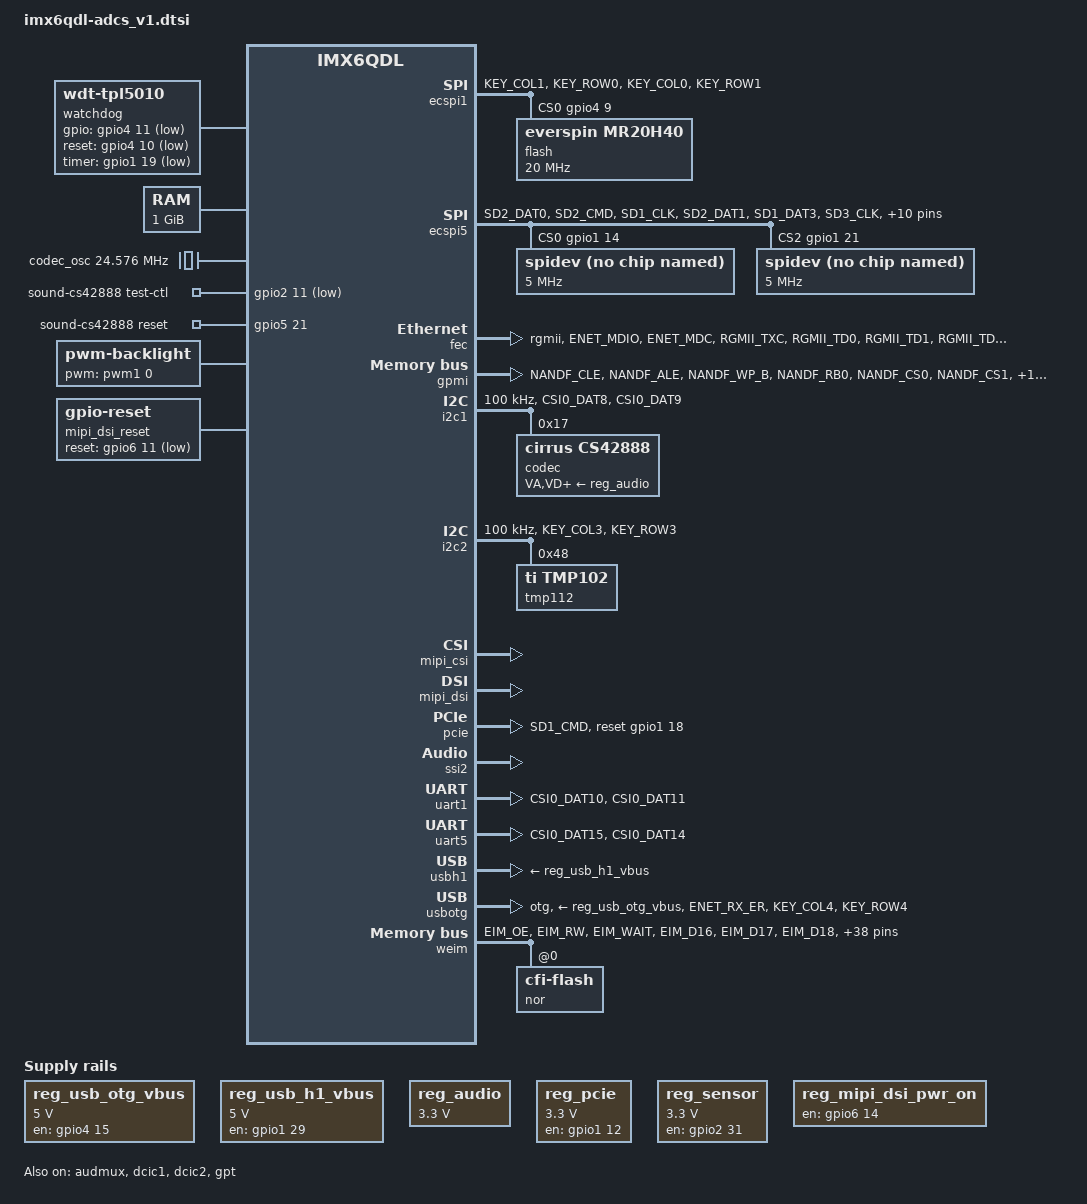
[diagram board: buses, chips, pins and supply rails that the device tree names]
/*
 * Copyright 2012-2015 Freescale Semiconductor, Inc.
 * Copyright 2011 Linaro Ltd.
 *
 * The code contained herein is licensed under the GNU General Public
 * License. You may obtain a copy of the GNU General Public License
 * Version 2 or later at the following locations:
 *
 * http://www.opensource.org/licenses/gpl-license.html
 * http://www.gnu.org/copyleft/gpl.html
 */

#include <dt-bindings/gpio/gpio.h>
#include <dt-bindings/input/input.h>

/ {
	aliases {
		mxcfb0 = &mxcfb1;
		mxcfb1 = &mxcfb2;
		mxcfb2 = &mxcfb3;
		mxcfb3 = &mxcfb4;
	};
/*
	battery: max8903@0 {
		compatible = "fsl,max8903-charger";
		pinctrl-names = "default";
		dok_input = <&gpio2 24 1>;
		uok_input = <&gpio1 27 1>;
		chg_input = <&gpio3 23 1>;
		flt_input = <&gpio5 2 1>;
		fsl,dcm_always_high;
		fsl,dc_valid;
		fsl,usb_valid;
		status = "okay";
	};

	hannstar_cabc {
		compatible = "hannstar,cabc";
		lvds0 {
			gpios = <&gpio6 15 GPIO_ACTIVE_HIGH>;
		};
		lvds1 {
			gpios = <&gpio6 16 GPIO_ACTIVE_HIGH>;
		};
	};*/
	watchdog: watchdog { 
		compatible = "linux,wdt-tpl5010";
		pinctrl-names = "default";
		pinctrl-0 = <&pinctrl_watchdog>;
		gpios = <&gpio4 11 GPIO_ACTIVE_LOW>;
		hw_algo = "toggle";
		gpio_reset = <&gpio4 10 GPIO_ACTIVE_LOW>;
		gpio_timer = <&gpio1 19 GPIO_ACTIVE_LOW>;
		hw_margin_ms = <1600>;
	};
	chosen {
		stdout-path = &uart1;
	};

	leds {
		status="disabled";
		compatible = "gpio-leds";
		pinctrl-names = "default";
		pinctrl-0 = <0>;
 		
		ap1-stop {
			gpios = <&gpio6 3 GPIO_ACTIVE_HIGH>;	
			linux,default-trigger = "gpio";		 
			default-state = "on";
		};
		ap2-stop {
			gpios = <&gpio6 4 GPIO_ACTIVE_HIGH>;
			linux,default-trigger = "gpio";			 
			default-state = "on";
		};
		ap3-stop {
			gpios = <&gpio6 5 GPIO_ACTIVE_HIGH>;
			linux,default-trigger = "gpio";			 
			default-state = "on";
		};
		ap1-run {
			gpios = <&gpio2 8 GPIO_ACTIVE_HIGH>;
			linux,default-trigger = "gpio";			 
			default-state = "off";
		};
		ap2-run {
			gpios = <&gpio2 9 GPIO_ACTIVE_HIGH>;
			linux,default-trigger = "gpio";			 
			default-state = "off";
		};
		ap3-run {
			gpios = <&gpio2 10 GPIO_ACTIVE_HIGH>;
			linux,default-trigger = "gpio";			 
			default-state = "off";
		};	
		
	};

	memory: memory {
		reg = <0x10000000 0x40000000>;
	};

	regulators {
		compatible = "simple-bus";
		#address-cells = <1>;
		#size-cells = <0>;
		
		swbst_reg: swbst {
			regulator-min-microvolt = <5000000>;
			regulator-max-microvolt = <5150000>;
		};
		snvs_reg: vsnvs {
			regulator-min-microvolt = <1000000>;
			regulator-max-microvolt = <3000000>;
			regulator-boot-on;
			regulator-always-on;
		};
					
		reg_usb_otg_vbus: regulator@0 {
			compatible = "regulator-fixed";
			reg = <0>;
			regulator-name = "usb_otg_vbus";
			regulator-min-microvolt = <5000000>;
			regulator-max-microvolt = <5000000>;
			gpio = <&gpio4 15 0>;  /* <&gpio3 22 0>; */
			enable-active-high;
			regulator-always-on;
			/*vin-supply = <&swbst_reg>;*/
		};

		reg_usb_h1_vbus: regulator@1 {
			compatible = "regulator-fixed";
			reg = <1>;
			regulator-name = "usb_h1_vbus";
			regulator-min-microvolt = <5000000>;
			regulator-max-microvolt = <5000000>;
			gpio = <&gpio1 29 0>;
			enable-active-high;
			 /*vin-supply = <&swbst_reg>;*/
		};

		reg_audio: regulator@2 {
			compatible = "regulator-fixed";
			reg = <2>;
			regulator-name = "cs4244-supply";
			regulator-min-microvolt = <3300000>;
			regulator-max-microvolt = <3300000>;
			regulator-always-on;
		};

		reg_pcie: regulator@3 {
			compatible = "regulator-fixed";
			reg = <3>;
			pinctrl-names = "default";
			pinctrl-0 = <&pinctrl_pcie_reg>;
			regulator-name = "MPCIE_3V3";
			regulator-min-microvolt = <3300000>;
			regulator-max-microvolt = <3300000>;
			gpio = <&gpio1 12 0>;
			regulator-always-on;
			enable-active-high;
		};

		reg_sensor: regulator@4 {
			compatible = "regulator-fixed";
			reg = <4>;
			regulator-name = "sensor-supply";
			regulator-min-microvolt = <3300000>;
			regulator-max-microvolt = <3300000>;
			gpio = <&gpio2 31 0>;
			startup-delay-us = <500>;
			enable-active-high;
		};

		reg_mipi_dsi_pwr_on: mipi_dsi_pwr_on {
			compatible = "regulator-fixed";
			regulator-name = "mipi_dsi_pwr_on";
			gpio = <&gpio6 14 0>;
			enable-active-high;
		};
	};

	gpio-keys {
		status="disabled";
		compatible = "gpio-keys";
		pinctrl-names = "default";
		pinctrl-0 = <&pinctrl_gpio_keys>;

		power {
			label = "Power Button";
			gpios = <&gpio3 29 GPIO_ACTIVE_LOW>;
			gpio-key,wakeup;
			linux,code = <KEY_POWER>;
		};

		volume-up {
			label = "Volume Up";
			gpios = <&gpio1 4 GPIO_ACTIVE_LOW>;
			gpio-key,wakeup;
			linux,code = <KEY_VOLUMEUP>;
		};

		volume-down {
			label = "Volume Down";
			gpios = <&gpio1 5 GPIO_ACTIVE_LOW>;
			gpio-key,wakeup;
			linux,code = <KEY_VOLUMEDOWN>;
		};
		
	};
 /*
	sound {
		compatible = "fsl,imx6q-sabresd-wm8962",
			   "fsl,imx-audio-wm8962";
		model = "wm8962-audio";
		cpu-dai = <&ssi2>;
		audio-codec = <&codec>;
		asrc-controller = <&asrc>;
		audio-routing =
			"Headphone Jack", "HPOUTL",
			"Headphone Jack", "HPOUTR",
			"Ext Spk", "SPKOUTL",
			"Ext Spk", "SPKOUTR",
			"AMIC", "MICBIAS",
			"IN3R", "AMIC",
			"DMIC", "MICBIAS",
			"DMICDAT", "DMIC",
			"CPU-Playback", "ASRC-Playback",
			"Playback", "CPU-Playback",
			"ASRC-Capture", "CPU-Capture",
			"CPU-Capture", "Capture";
		mux-int-port = <2>;
		mux-ext-port = <3>;
		 
	};
*/

	clocks {
		codec_osc: anaclk2 {
			compatible = "fixed-clock";
			#clock-cells = <0>;
			clock-frequency = <24576000>;
		};
	};
	sound-cs42888 {
		compatible = "fsl,imx6-sabresd-cs42888",
				"fsl,imx-audio-cs42888";
		model = "imx-cs42888";
		cpu-dai = <&ssi2>;
		asrc-controller = <&asrc>;
		audio-codec = <&codec>;
		mux-int-port = <3>;
		mux-ext-port = <2>;
		test-ctl-gpios = <&gpio2 11 1>;
		test-ch-gpio1 = <&gpio2 12 1>;
		test-ch-gpio2 = <&gpio2 13 1>;
		reset-gpio  = <&gpio5 21 0>;
	};
	
	
	
	sound-hdmi {
		compatible = "fsl,imx6q-audio-hdmi",
			     "fsl,imx-audio-hdmi";
		model = "imx-audio-hdmi";
		hdmi-controller = <&hdmi_audio>;
		status = "disabled";
	};

	mxcfb1: fb@0 {
		compatible = "fsl,mxc_sdc_fb";
	/*	disp_dev = "ldb";
		interface_pix_fmt = "RGB24";
		default_bpp = <24>;
*/
		disp_dev = "lcd";
		interface_pix_fmt = "RGB24";
	 
		default_bpp = <24>;
  	int_clk = <0>;
		late_init = <0>;
		status = "disabled";
	};

	mxcfb2: fb@1 {
		compatible = "fsl,mxc_sdc_fb";
		disp_dev = "hdmi";
		interface_pix_fmt = "RGB24";
		mode_str ="1920x1080M@60";
		default_bpp = <24>;
		int_clk = <0>;
		late_init = <0>;
		status = "disabled";
	};

	mxcfb3: fb@2 {
		compatible = "fsl,mxc_sdc_fb";
		disp_dev = "lcd";
		interface_pix_fmt = "RGB565";
		mode_str ="CLAA-WVGA";
		default_bpp = <16>;
		int_clk = <0>;
		late_init = <0>;
		status = "disabled";
	};

	mxcfb4: fb@3 {
		compatible = "fsl,mxc_sdc_fb";
		disp_dev = "ldb";
		interface_pix_fmt = "RGB666";
		default_bpp = <16>;
		int_clk = <0>;
		late_init = <0>;
		status = "disabled";
	};

	lcd@0 {
		compatible = "fsl,lcd";
		ipu_id = <0>;
		disp_id = <0>;
		default_ifmt = "RGB565";
		pinctrl-names = "default";
		pinctrl-0 = <&pinctrl_ipu1>;
		status = "okay";
	};

	backlight {
		compatible = "pwm-backlight";
		pwms = <&pwm1 0 5000000>;
		brightness-levels = <0 4 8 16 32 64 128 255>;
		default-brightness-level = <7>;
		status = "okay";
	};

	v4l2_cap_0 {
		compatible = "fsl,imx6q-v4l2-capture";
		ipu_id = <0>;
		csi_id = <0>;
		mclk_source = <0>;
		status = "okay";
	};

	v4l2_cap_1 {
		compatible = "fsl,imx6q-v4l2-capture";
		ipu_id = <0>;
		csi_id = <1>;
		mclk_source = <0>;
		status = "okay";
	};

	v4l2_out {
		compatible = "fsl,mxc_v4l2_output";
		status = "okay";
	};

	mipi_dsi_reset: mipi-dsi-reset {
		compatible = "gpio-reset";
		reset-gpios = <&gpio6 11 GPIO_ACTIVE_LOW>;
		reset-delay-us = <50>;
		#reset-cells = <0>;
	};
};

&audmux {
	pinctrl-names = "default";
	pinctrl-0 = <&pinctrl_audmux>;
	status = "okay";
};

 

&clks {
	fsl,ldb-di0-parent = <&clks IMX6QDL_CLK_PLL2_PFD0_352M>;
	fsl,ldb-di1-parent = <&clks IMX6QDL_CLK_PLL2_PFD0_352M>;
/* new add  ????? */
/*	assigned-clocks = <&clks IMX6QDL_PLL4_BYPASS_SRC>,
			  <&clks IMX6QDL_PLL4_BYPASS>,
			  <&clks IMX6QDL_CLK_PLL4_POST_DIV>;
	assigned-clock-parents = <&clks IMX6QDL_CLK_LVDS2_IN>,
				<&clks IMX6QDL_PLL4_BYPASS_SRC>;
	assigned-clock-rates = <0>, <0>, <24576000>;*/
};

&ecspi1 {
	fsl,spi-num-chipselects = <1>;
	cs-gpios = <&gpio4 9 0>;
	pinctrl-names = "default";
	pinctrl-0 = <&pinctrl_ecspi1>;
	status = "okay";

	flash: mr20h40@0 {
		#address-cells = <1>;
		#size-cells = <1>;
		compatible = "everspin,mr20h40";  
		spi-max-frequency = <20000000>;
		reg = <0>;
	};
};
&ecspi5 {
	fsl,spi-num-chipselects = <3>;
	cs-gpios = <&gpio1 14 0>, <0>, <&gpio1 21 0>;  
	pinctrl-names = "default";
	pinctrl-0 = <&pinctrl_ecspi5>;
	status = "okay";	
/*
	to disalbe spidev, you should dislabe CONFIG_SPI_SPIDEV in config, and unmark this block.

	a717: hi3717@0 {
		#address-cells = <1>;
		#size-cells = <1>; 
		compatible = "everspin,hi3717"; 
		spi-max-frequency = <5000000>;
		reg = <0>;
	};
	a429: hi3210@2 {
		#address-cells = <1>;
		#size-cells = <1>;
 		compatible = "everspin,hi3210";  
		spi-max-frequency = <5000000>;
		reg = <2>;
	};*/
  spidev@0x00 {
          compatible = "spidev";
          spi-max-frequency = <5000000>;
          reg = <0>;
  };
  spidev@0x02 {
          compatible = "spidev";
          spi-max-frequency = <5000000>;
          reg = <2>;
  }; 
};
&fec {
	pinctrl-names = "default";
	pinctrl-0 = <&pinctrl_enet>;
	phy-mode = "rgmii";
	phy-reset-gpios = <&gpio1 28 0>;
	fsl,magic-packet;
	status = "okay";
};

&gpc {
	fsl,ldo-bypass = <1>;
};

&dcic1 {
	dcic_id = <0>;
	dcic_mux = "dcic-hdmi";
	status = "okay";
};

&dcic2 {
	dcic_id = <1>;
	dcic_mux = "dcic-lvds1";
	status = "okay";
};

&gpmi {
	pinctrl-names = "default";
	pinctrl-0 = <&pinctrl_gpmi_nand>;
	status = "okay"; /* pin conflict with uart3 */
	nand-on-flash-bbt;
};

&i2c1 {
	clock-frequency = <100000>;
	pinctrl-names = "default";
	pinctrl-0 = <&pinctrl_i2c1>;
	status = "okay";
 /*
codec: wm8962@17 {
		compatible = "wlf,wm8962";
		reg = <0x17>;
		clocks = <&clks IMX6QDL_CLK_CKO>;
		DCVDD-supply = <&reg_audio>;
		DBVDD-supply = <&reg_audio>;
		AVDD-supply = <&reg_audio>;
		CPVDD-supply = <&reg_audio>;
		MICVDD-supply = <&reg_audio>;
		PLLVDD-supply = <&reg_audio>;
		SPKVDD1-supply = <&reg_audio>;
		SPKVDD2-supply = <&reg_audio>;
		gpio-cfg = <
			0x0000  
			0x0000  
			0x0013  
			0x0000  
			0x8014  
			0x0000  
		>;
		amic-mono;
       };
*/
	codec: cs42888@17 {
		compatible = "cirrus,cs42888";
		reg = <0x17>;
		clocks = <&clks IMX6QDL_CLK_CKO>;   
		clock-names = "mclk";
		VA-supply = <&reg_audio>;
		VD-supply = <&reg_audio>;
		VLS-supply = <&reg_audio>;
		VLC-supply = <&reg_audio>;
        };

   /*     
	mma8451@1c {
		compatible = "fsl,mma8451";
		reg = <0x1c>;
		position = <0>;
		vdd-supply = <&reg_sensor>;
		vddio-supply = <&reg_sensor>;
		interrupt-parent = <&gpio1>;
		interrupts = <18 8>;
		interrupt-route = <1>;
	};*/

	
};

&i2c2 {
	clock-frequency = <100000>;
	pinctrl-names = "default";
	pinctrl-0 = <&pinctrl_i2c2>;
	status = "okay";

	tmp112: tmp112@48 {
		compatible = "ti,tmp102";
		reg = <0x48>;
	};
	 
};



&i2c3 {
	status = "disabled";
/*
	clock-frequency = <100000>;	
	pinctrl-names = "default";
	pinctrl-0 = <&pinctrl_i2c3>;
	
	egalax_ts@04 {
		compatible = "eeti,egalax_ts";
		reg = <0x04>;
		pinctrl-names = "default";
		pinctrl-0 = <&pinctrl_i2c3_egalax_int>;
		interrupt-parent = <&gpio6>;
		interrupts = <7 2>;
		wakeup-gpios = <&gpio6 7 GPIO_ACTIVE_HIGH>;
	};

	isl29023@44 {
		compatible = "fsl,isl29023";
		reg = <0x44>;
		rext = <499>;
		vdd-supply = <&reg_sensor>;
		interrupt-parent = <&gpio3>;
		interrupts = <9 2>;
	};

	mag3110@0e {
		compatible = "fsl,mag3110";
		reg = <0x0e>;
		position = <2>;
		vdd-supply = <&reg_sensor>;
		vddio-supply = <&reg_sensor>;
		interrupt-parent = <&gpio3>;
		interrupts = <16 1>;
	};*/
};

&iomuxc {
	pinctrl-names = "default";
	pinctrl-0 = <&pinctrl_hog &pinctrl_leds &pinctrl_gpio_keys>;

	imx6qdl-sabresd {
		pinctrl_hog: hoggrp {
			fsl,pins = <0>;
		};
		pinctrl_watchdog: pinctrl_wdoggrp {
			fsl,pins = <
				/* for wdog tpl5010  and wdog_B1 pin	*/
				 MX6QDL_PAD_KEY_ROW2__GPIO4_IO11		0x1b0b0 
				 MX6QDL_PAD_KEY_COL2__GPIO4_IO10		0x1b0b0 
				 MX6QDL_PAD_SD1_DAT2__GPIO1_IO19		0x1b0b0 
				 MX6QDL_PAD_GPIO_16__GPIO7_IO11			0x1b0b0 
			>;
		};
		pinctrl_audmux: audmuxgrp {
			fsl,pins = <
				MX6QDL_PAD_CSI0_DAT7__AUD3_RXD		0x130B0 
				MX6QDL_PAD_CSI0_DAT4__AUD3_TXC		0x130B0 
				MX6QDL_PAD_CSI0_DAT5__AUD3_TXD		0x110B0 
				MX6QDL_PAD_CSI0_DAT6__AUD3_TXFS		0x130B0 
				
				MX6QDL_PAD_SD4_DAT3__GPIO2_IO11   0x1b0b0
				MX6QDL_PAD_SD4_DAT4__GPIO2_IO12		0x1b0b0
				MX6QDL_PAD_SD4_DAT5__GPIO2_IO13		0x1b0b0
			>;
		};

		pinctrl_ecspi1: ecspi1grp {
			fsl,pins = <
				MX6QDL_PAD_KEY_COL1__ECSPI1_MISO	0x100b1
				MX6QDL_PAD_KEY_ROW0__ECSPI1_MOSI	0x100b1
				MX6QDL_PAD_KEY_COL0__ECSPI1_SCLK	0x100b1
				MX6QDL_PAD_KEY_ROW1__GPIO4_IO09		0x1b0b0
			>;
		};
		pinctrl_ecspi5: ecspi5grp {
			fsl,pins = <
				MX6QDL_PAD_SD2_DAT0__ECSPI5_MISO	0x100b1
				MX6QDL_PAD_SD2_CMD__ECSPI5_MOSI		0x100b1
				MX6QDL_PAD_SD1_CLK__ECSPI5_SCLK		0x100b1
	/*		MX6QDL_PAD_SD2_DAT1__ECSPI5_SS0		0x1b0b0
				MX6QDL_PAD_SD1_DAT3__ECSPI5_SS2 	0x1b0b0
	*/		MX6QDL_PAD_SD2_DAT1__GPIO1_IO14		0x1b0b0
				MX6QDL_PAD_SD1_DAT3__GPIO1_IO21 	0x1b0b0
					
				MX6QDL_PAD_SD3_CLK__GPIO7_IO03    0x1b0b0
				MX6QDL_PAD_SD3_CMD__GPIO7_IO02  	0x1b0b0
				MX6QDL_PAD_SD3_DAT0__GPIO7_IO04 	0x1b0b0
				MX6QDL_PAD_SD3_DAT1__GPIO7_IO05 	0x1b0b0
				MX6QDL_PAD_SD3_DAT2__GPIO7_IO06 	0x1b0b0 																																																				
				MX6QDL_PAD_SD3_DAT3__GPIO7_IO07 	0x1b0b0 																																																				
				MX6QDL_PAD_SD3_DAT4__GPIO7_IO01 	0x1b0b0 																																																				
				MX6QDL_PAD_SD3_DAT5__GPIO7_IO00 	0x1b0b0 																																																				
				MX6QDL_PAD_SD3_DAT6__GPIO6_IO18 	0x1b0b0 																																																				
				MX6QDL_PAD_SD3_DAT7__GPIO6_IO17 	0x1b0b0 																																																				
				MX6QDL_PAD_SD3_RST__GPIO7_IO08  	0x1b0b0																																														
	                                       
			>;
		};
		pinctrl_i2c2_egalax_int: egalax_i2c2_intgrp {
			fsl,pins = <
				MX6QDL_PAD_NANDF_ALE__GPIO6_IO08 0x80000000
			>;
		};

		pinctrl_i2c3_egalax_int: egalax_i2c3_intgrp {
			fsl,pins = <
				MX6QDL_PAD_NANDF_CLE__GPIO6_IO07 0x80000000
			>;
		};

		pinctrl_enet: enetgrp {
			fsl,pins = <
				MX6QDL_PAD_ENET_MDIO__ENET_MDIO		0x1b0b0
				MX6QDL_PAD_ENET_MDC__ENET_MDC		0x1b0b0
				MX6QDL_PAD_RGMII_TXC__RGMII_TXC		0x1b0b0
				MX6QDL_PAD_RGMII_TD0__RGMII_TD0		0x1b0b0
				MX6QDL_PAD_RGMII_TD1__RGMII_TD1		0x1b0b0
				MX6QDL_PAD_RGMII_TD2__RGMII_TD2		0x1b0b0
				MX6QDL_PAD_RGMII_TD3__RGMII_TD3		0x1b0b0
				MX6QDL_PAD_RGMII_TX_CTL__RGMII_TX_CTL	0x1b0b0
				MX6QDL_PAD_ENET_REF_CLK__ENET_TX_CLK	0x1b0b0
				MX6QDL_PAD_RGMII_RXC__RGMII_RXC		0x1b0b0
				MX6QDL_PAD_RGMII_RD0__RGMII_RD0		0x1b0b0
				MX6QDL_PAD_RGMII_RD1__RGMII_RD1		0x1b0b0
				MX6QDL_PAD_RGMII_RD2__RGMII_RD2		0x1b0b0
				MX6QDL_PAD_RGMII_RD3__RGMII_RD3		0x1b0b0
				MX6QDL_PAD_RGMII_RX_CTL__RGMII_RX_CTL	0x1b0b0
 
			>;
		};

		pinctrl_enet_irq: enetirqgrp {
			fsl,pins = <
				MX6QDL_PAD_GPIO_6__ENET_IRQ		0x000b1
			>;
		};

		pinctrl_gpio_keys: gpio_keysgrp {
			fsl,pins = <
			
				MX6QDL_PAD_GPIO_4__GPIO1_IO04  0x1b0b0
				MX6QDL_PAD_GPIO_5__GPIO1_IO05  0x1b0b0
				MX6QDL_PAD_GPIO_18__GPIO7_IO13  0x1b0b0
				MX6QDL_PAD_GPIO_19__GPIO4_IO05  0x1b0b0
				MX6QDL_PAD_GPIO_2__GPIO1_IO02  0x1b0b0
				MX6QDL_PAD_SD1_DAT1__GPIO1_IO17  0x1b0b0
			>;
		};
		
		pinctrl_leds: gpio_ledsgrp {
			fsl,pins = <
			
				MX6QDL_PAD_SD4_DAT0__GPIO2_IO08  0x1b0b0
				MX6QDL_PAD_SD4_DAT1__GPIO2_IO09  0x1b0b0
				MX6QDL_PAD_SD4_DAT2__GPIO2_IO10  0x1b0b0
				
				MX6QDL_PAD_CSI0_DAT17__GPIO6_IO03  0x1b0b0
				MX6QDL_PAD_CSI0_DAT18__GPIO6_IO04  0x1b0b0
				MX6QDL_PAD_CSI0_DAT19__GPIO6_IO05  0x1b0b0
			>;
		};
		pinctrl_gpmi_nand: gpminandgrp {
			fsl,pins = <
				MX6QDL_PAD_NANDF_CLE__NAND_CLE		0xb0b1
				MX6QDL_PAD_NANDF_ALE__NAND_ALE		0xb0b1
				MX6QDL_PAD_NANDF_WP_B__NAND_WP_B	0xb0b1
				MX6QDL_PAD_NANDF_RB0__NAND_READY_B	0xb000
				MX6QDL_PAD_NANDF_CS0__NAND_CE0_B	0xb0b1
				MX6QDL_PAD_NANDF_CS1__NAND_CE1_B	0xb0b1
				MX6QDL_PAD_SD4_CMD__NAND_RE_B		0xb0b1
				MX6QDL_PAD_SD4_CLK__NAND_WE_B		0xb0b1
				MX6QDL_PAD_NANDF_D0__NAND_DATA00	0xb0b1
				MX6QDL_PAD_NANDF_D1__NAND_DATA01	0xb0b1
				MX6QDL_PAD_NANDF_D2__NAND_DATA02	0xb0b1
				MX6QDL_PAD_NANDF_D3__NAND_DATA03	0xb0b1
				MX6QDL_PAD_NANDF_D4__NAND_DATA04	0xb0b1
				MX6QDL_PAD_NANDF_D5__NAND_DATA05	0xb0b1
				MX6QDL_PAD_NANDF_D6__NAND_DATA06	0xb0b1
				MX6QDL_PAD_NANDF_D7__NAND_DATA07	0xb0b1
		/*		MX6QDL_PAD_SD4_DAT0__NAND_DQS		0x00b1 */
			>;
		};

		pinctrl_i2c1: i2c1grp {
			fsl,pins = <
				MX6QDL_PAD_CSI0_DAT8__I2C1_SDA		0x4001b8b1
				MX6QDL_PAD_CSI0_DAT9__I2C1_SCL		0x4001b8b1
			>;
		};

		pinctrl_i2c2: i2c2grp {
			fsl,pins = <
				MX6QDL_PAD_KEY_COL3__I2C2_SCL		0x4001b8b1
				MX6QDL_PAD_KEY_ROW3__I2C2_SDA		0x4001b8b1
			>;
		};
/*
		pinctrl_i2c3: i2c3grp {
			fsl,pins = <
				MX6QDL_PAD_GPIO_5__I2C3_SCL		0x4001b8b1
				MX6QDL_PAD_GPIO_6__I2C3_SDA		0x4001b8b1
			>;
		};
*/
		pinctrl_ipu1: ipu1grp {
			fsl,pins = <
				MX6QDL_PAD_DI0_DISP_CLK__IPU1_DI0_DISP_CLK 0x10
				MX6QDL_PAD_DI0_PIN15__IPU1_DI0_PIN15       0x10
				MX6QDL_PAD_DI0_PIN2__IPU1_DI0_PIN02        0x10
				MX6QDL_PAD_DI0_PIN3__IPU1_DI0_PIN03        0x10
				MX6QDL_PAD_DI0_PIN4__IPU1_DI0_PIN04        0x80000000
				MX6QDL_PAD_DISP0_DAT0__IPU1_DISP0_DATA00   0x10
				MX6QDL_PAD_DISP0_DAT1__IPU1_DISP0_DATA01   0x10
				MX6QDL_PAD_DISP0_DAT2__IPU1_DISP0_DATA02   0x10
				MX6QDL_PAD_DISP0_DAT3__IPU1_DISP0_DATA03   0x10
				MX6QDL_PAD_DISP0_DAT4__IPU1_DISP0_DATA04   0x10
				MX6QDL_PAD_DISP0_DAT5__IPU1_DISP0_DATA05   0x10
				MX6QDL_PAD_DISP0_DAT6__IPU1_DISP0_DATA06   0x10
				MX6QDL_PAD_DISP0_DAT7__IPU1_DISP0_DATA07   0x10
				MX6QDL_PAD_DISP0_DAT8__IPU1_DISP0_DATA08   0x10
				MX6QDL_PAD_DISP0_DAT9__IPU1_DISP0_DATA09   0x10
				MX6QDL_PAD_DISP0_DAT10__IPU1_DISP0_DATA10  0x10
				MX6QDL_PAD_DISP0_DAT11__IPU1_DISP0_DATA11  0x10
				MX6QDL_PAD_DISP0_DAT12__IPU1_DISP0_DATA12  0x10
				MX6QDL_PAD_DISP0_DAT13__IPU1_DISP0_DATA13  0x10
				MX6QDL_PAD_DISP0_DAT14__IPU1_DISP0_DATA14  0x10
				MX6QDL_PAD_DISP0_DAT15__IPU1_DISP0_DATA15  0x10
				MX6QDL_PAD_DISP0_DAT16__IPU1_DISP0_DATA16  0x10
				MX6QDL_PAD_DISP0_DAT17__IPU1_DISP0_DATA17  0x10
				MX6QDL_PAD_DISP0_DAT18__IPU1_DISP0_DATA18  0x10
				MX6QDL_PAD_DISP0_DAT19__IPU1_DISP0_DATA19  0x10
				MX6QDL_PAD_DISP0_DAT20__IPU1_DISP0_DATA20  0x10
				MX6QDL_PAD_DISP0_DAT21__IPU1_DISP0_DATA21  0x10
				MX6QDL_PAD_DISP0_DAT22__IPU1_DISP0_DATA22  0x10
				MX6QDL_PAD_DISP0_DAT23__IPU1_DISP0_DATA23  0x10
				MX6QDL_PAD_SD4_DAT7__GPIO2_IO15					   0x1b0b0
			>;
		};

		

		pinctrl_pcie: pciegrp {
			fsl,pins = <
				MX6QDL_PAD_SD1_CMD__GPIO1_IO18	0x1b0b0
			>;
		};

		pinctrl_pcie_reg: pciereggrp {
			fsl,pins = <
				MX6QDL_PAD_SD2_DAT3__GPIO1_IO12	0x1b0b0
			>;
		};
		pinctrl_gpt1: gpt1grp {
			fsl,pins = <
				MX6QDL_PAD_SD1_DAT0__GPT_CAPTURE1		0x80000000
			>;
		};
		
/*
		pinctrl_pwm1: pwm1grp {
			fsl,pins = <
				MX6QDL_PAD_SD1_DAT3__PWM1_OUT		0x1b0b1
			>;
		};
*/
		pinctrl_uart1: uart1grp {
			fsl,pins = <
				MX6QDL_PAD_CSI0_DAT10__UART1_TX_DATA	0x1b0b1
				MX6QDL_PAD_CSI0_DAT11__UART1_RX_DATA	0x1b0b1
			>;
		};

		pinctrl_uart5_1: uart5grp-1 {
			fsl,pins = <
				MX6QDL_PAD_CSI0_DAT15__UART5_TX_DATA	0x1b0b1
				MX6QDL_PAD_CSI0_DAT14__UART5_RX_DATA	0x1b0b1
				 
			>;
		};

 

		pinctrl_usbotg: usbotggrp {
			fsl,pins = <
				MX6QDL_PAD_ENET_RX_ER__USB_OTG_ID	0x17059
				MX6QDL_PAD_KEY_COL4__USB_OTG_OC		0x17059
				MX6QDL_PAD_KEY_ROW4__GPIO4_IO15		0x000b0
			>;
		};

		

		pinctrl_wdog: wdoggrp {
			fsl,pins = <
				MX6QDL_PAD_SD1_DAT2__WDOG1_B 0x80000000
		
			>;
		};

	
		pinctrl_weim_cs0: weimcs0grp {
			fsl,pins = <
				MX6QDL_PAD_EIM_CS0__EIM_CS0_B		0xb0b1
			>;
		};

		pinctrl_weim_nor: weimnorgrp {
			fsl,pins = <
				MX6QDL_PAD_EIM_OE__EIM_OE_B		0xb0b1
				MX6QDL_PAD_EIM_RW__EIM_RW		0xb0b1
				MX6QDL_PAD_EIM_WAIT__EIM_WAIT_B		0xb060
				MX6QDL_PAD_EIM_D16__EIM_DATA16		0x1b0b0
				MX6QDL_PAD_EIM_D17__EIM_DATA17		0x1b0b0
				MX6QDL_PAD_EIM_D18__EIM_DATA18		0x1b0b0
				MX6QDL_PAD_EIM_D19__EIM_DATA19		0x1b0b0
				MX6QDL_PAD_EIM_D20__EIM_DATA20		0x1b0b0
				MX6QDL_PAD_EIM_D21__EIM_DATA21		0x1b0b0
				MX6QDL_PAD_EIM_D22__EIM_DATA22		0x1b0b0
				MX6QDL_PAD_EIM_D23__EIM_DATA23		0x1b0b0
				MX6QDL_PAD_EIM_D24__EIM_DATA24		0x1b0b0
				MX6QDL_PAD_EIM_D25__EIM_DATA25		0x1b0b0
				MX6QDL_PAD_EIM_D26__EIM_DATA26		0x1b0b0
				MX6QDL_PAD_EIM_D27__EIM_DATA27		0x1b0b0
				MX6QDL_PAD_EIM_D28__EIM_DATA28		0x1b0b0
				MX6QDL_PAD_EIM_D29__EIM_DATA29		0x1b0b0
				MX6QDL_PAD_EIM_D30__EIM_DATA30		0x1b0b0
				MX6QDL_PAD_EIM_D31__EIM_DATA31		0x1b0b0
				MX6QDL_PAD_EIM_A23__EIM_ADDR23		0xb0b1
				MX6QDL_PAD_EIM_A22__EIM_ADDR22		0xb0b1
				MX6QDL_PAD_EIM_A21__EIM_ADDR21		0xb0b1
				MX6QDL_PAD_EIM_A20__EIM_ADDR20		0xb0b1
				MX6QDL_PAD_EIM_A19__EIM_ADDR19		0xb0b1
				MX6QDL_PAD_EIM_A18__EIM_ADDR18		0xb0b1
				MX6QDL_PAD_EIM_A17__EIM_ADDR17		0xb0b1
				MX6QDL_PAD_EIM_A16__EIM_ADDR16		0xb0b1
				MX6QDL_PAD_EIM_DA15__EIM_AD15		0xb0b1
				MX6QDL_PAD_EIM_DA14__EIM_AD14		0xb0b1
				MX6QDL_PAD_EIM_DA13__EIM_AD13		0xb0b1
				MX6QDL_PAD_EIM_DA12__EIM_AD12		0xb0b1
				MX6QDL_PAD_EIM_DA11__EIM_AD11		0xb0b1
				MX6QDL_PAD_EIM_DA10__EIM_AD10		0xb0b1
				MX6QDL_PAD_EIM_DA9__EIM_AD09		0xb0b1
				MX6QDL_PAD_EIM_DA8__EIM_AD08		0xb0b1
				MX6QDL_PAD_EIM_DA7__EIM_AD07		0xb0b1
				MX6QDL_PAD_EIM_DA6__EIM_AD06		0xb0b1
				MX6QDL_PAD_EIM_DA5__EIM_AD05		0xb0b1
				MX6QDL_PAD_EIM_DA4__EIM_AD04		0xb0b1
				MX6QDL_PAD_EIM_DA3__EIM_AD03		0xb0b1
				MX6QDL_PAD_EIM_DA2__EIM_AD02		0xb0b1
				MX6QDL_PAD_EIM_DA1__EIM_AD01		0xb0b1
				MX6QDL_PAD_EIM_DA0__EIM_AD00		0xb0b1
			>;
		};
 	};
};

&ldb {
	status = "disabled";

	lvds-channel@0 {
		fsl,data-mapping = "spwg";
		fsl,data-width = <18>;
		status = "okay";

		display-timings {
			native-mode = <&timing0>;
			timing0: hsd100pxn1 {
				clock-frequency = <65000000>;
				hactive = <1024>;
				vactive = <768>;
				hback-porch = <220>;
				hfront-porch = <40>;
				vback-porch = <21>;
				vfront-porch = <7>;
				hsync-len = <60>;
				vsync-len = <10>;
			};
		};
	};

	lvds-channel@1 {
		fsl,data-mapping = "spwg";
		fsl,data-width = <18>;
		primary;
		status = "okay";

		display-timings {
			native-mode = <&timing1>;
			timing1: hsd100pxn1 {
				clock-frequency = <65000000>;
				hactive = <1024>;
				vactive = <768>;
				hback-porch = <220>;
				hfront-porch = <40>;
				vback-porch = <21>;
				vfront-porch = <7>;
				hsync-len = <60>;
				vsync-len = <10>;
			};
		};
	};
};

&mipi_csi {
	status = "okay";
	ipu_id = <0>;
	csi_id = <1>;
	v_channel = <0>;
	lanes = <2>;
};

&mipi_dsi {
	dev_id = <0>;
	disp_id = <1>;
	lcd_panel = "TRULY-WVGA";
	disp-power-on-supply = <&reg_mipi_dsi_pwr_on>;
	resets = <&mipi_dsi_reset>;
	status = "okay";
};
 

&pcie {
	pinctrl-names = "default";
	pinctrl-0 = <&pinctrl_pcie>;
	reset-gpio = <&gpio1 18 0>;
	status = "okay";
};
/*
&pwm1 {
	pinctrl-names = "default";
	pinctrl-0 = <&pinctrl_pwm1>;
	status = "okay";
};
*/
&gpt {
	pinctrl-names = "default";
	pinctrl-0 = <&pinctrl_gpt1>;
	status = "okay";
};

&snvs_poweroff {
	status = "okay";
};

&ssi2 {
	fsl,mode = "i2s-master";  
	status = "okay";
};
 
&uart1 {
	pinctrl-names = "default";
	pinctrl-0 = <&pinctrl_uart1>;
	status = "okay";
};
&uart5 {
	pinctrl-names = "default";
	pinctrl-0 = <&pinctrl_uart5_1>;
	status = "okay";
};
&usbh1 {
	vbus-supply = <&reg_usb_h1_vbus>;
	status = "okay";
};

&usbotg {
	vbus-supply = <&reg_usb_otg_vbus>;
	pinctrl-names = "default";
	pinctrl-0 = <&pinctrl_usbotg>;
	disable-over-current;
	srp-disable;
	hnp-disable;
	adp-disable;
	dr_mode = "otg";
	status = "okay";
};

&usbphy1 {
	tx-d-cal = <0x5>;
};

&usbphy2 {
	tx-d-cal = <0x5>;
};

&wdog1 {
	status = "disabled";
};

&wdog2 {
	pinctrl-names = "default";
	pinctrl-0 = <&pinctrl_wdog>;
	fsl,wdog_b;
	status = "disabled";
};

/*  marked on 2017/03/23
&fec {
	pinctrl-0 = <&pinctrl_enet &pinctrl_enet_irq>;
	interrupts-extended = <&gpio1 6 0x04>, <&gpc 0 119 0x04>;
};

&i2c3 {
	status = "disabled";
};
*/

&weim {
	pinctrl-names = "default";
	pinctrl-0 = <&pinctrl_weim_nor &pinctrl_weim_cs0>;
	#address-cells = <2>;
	#size-cells = <1>;
	ranges = <0 0 0x08000000 0x08000000>;
	status = "okay"; /* pin conflict with SPI NOR */

	nor@0,0 {
		compatible = "cfi-flash";
		reg = <0 0 0x02000000>;
		#address-cells = <1>;
		#size-cells = <1>;
		bank-width = <2>;
		fsl,weim-cs-timing = <0x00620081 0x00000001 0x1c022000
				0x0000c000 0x1404a38e 0x00000000>;
	};
};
